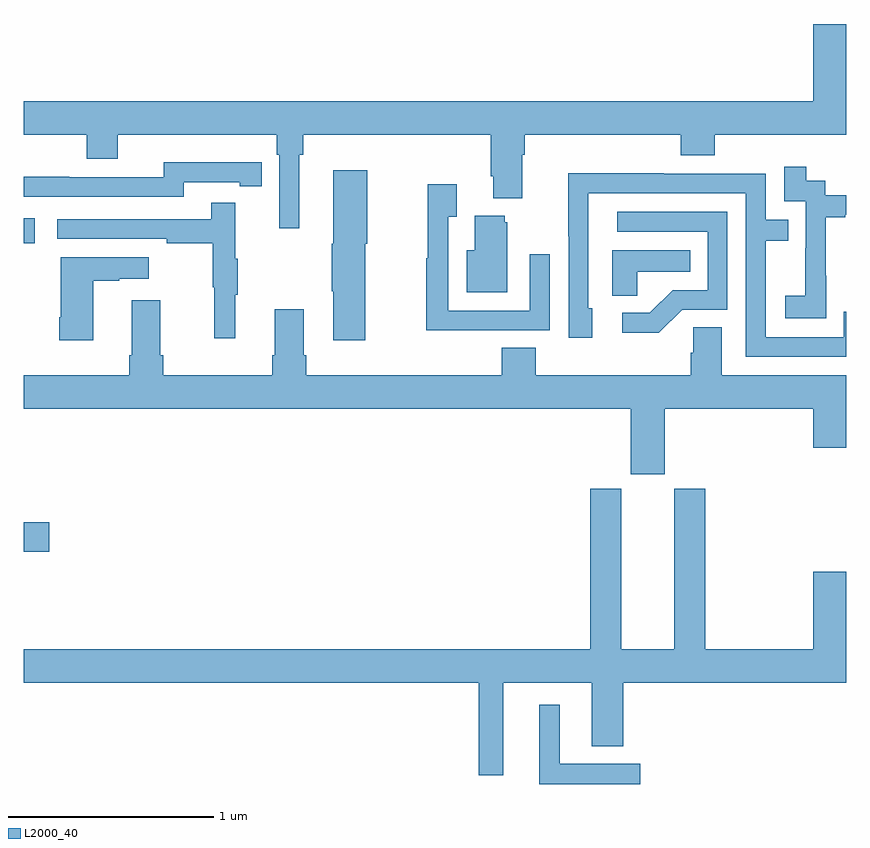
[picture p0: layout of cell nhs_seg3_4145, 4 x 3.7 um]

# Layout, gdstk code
import gdstk
lib = gdstk.Library(unit=1e-6, precision=1e-09)
def R(c, l, rs):  # rectangles x0, y0, x1, y1
    for r in rs: c.add(gdstk.rectangle(r[:2], r[2:], *l))
def P(c, l, *ps):  # polygons
    for p in ps: c.add(gdstk.Polygon(p, *l))
L2000_40 = (2000, 40)

nhs_seg3_4145 = lib.new_cell('nhs_seg3_4145')
R(nhs_seg3_4145, L2000_40, [(329,725.53,329.125,725.672), (329,727.029,329.053,727.15)])
P(nhs_seg3_4145, L2000_40, [(329,727.556),(329.306,727.556),(329.306,727.439),(329.458,727.439),(329.458,727.556),(330.23,727.556),(330.23,727.46),(330.243,727.46),(330.243,727.101),(330.34,727.101),(330.34,727.46),(330.359,727.46),(330.359,727.556),(331.271,727.556),(331.271,727.354),(331.283,727.354),(331.283,727.247),(331.423,727.247),(331.423,727.46),(331.436,727.46),(331.436,727.556),(332.195,727.556),(332.195,727.457),(332.36,727.457),(332.36,727.556),(333,727.556),(333,728.095),(332.84,728.095),(332.84,727.72),(329,727.72)],
  [(329.778,727.326),(330.05,727.326),(330.05,727.306),(330.158,727.306),(330.158,727.422),(330.05,727.422),(330.05,727.423),(329.682,727.423),(329.682,727.35),(329.222,727.35),(329.222,727.352),(329,727.352),(329,727.254),(329.778,727.254)],
  [(332.901,726.871),(332.9,726.871),(332.9,727.155),(332.995,727.155),(332.995,727.167),(333,727.167),(333,727.263),(332.898,727.263),(332.898,727.332),(332.806,727.332),(332.806,727.402),(332.697,727.402),(332.697,727.233),(332.802,727.233),(332.802,727.004),(332.801,727.004),(332.801,726.775),(332.703,726.775),(332.703,726.665),(332.901,726.665)],
  [(330.66,727.026),(330.67,727.026),(330.67,727.384),(330.506,727.384),(330.506,727.026),(330.499,727.026),(330.499,726.796),(330.506,726.796),(330.506,726.558),(330.66,726.558)],
  [(333,726.696),(332.988,726.696),(332.988,726.573),(332.607,726.573),(332.607,727.042),(332.717,727.042),(332.717,727.143),(332.607,727.143),(332.607,727.368),(332.111,727.368),(332.111,727.37),(331.648,727.37),(331.648,727.063),(331.65,727.063),(331.65,726.57),(331.765,726.57),(331.765,726.714),(331.746,726.714),(331.746,727.272),(332.511,727.272),(332.511,726.477),(333,726.477)],
  [(331.241,726.606),(331.557,726.606),(331.557,726.976),(331.461,726.976),(331.461,726.702),(331.065,726.702),(331.065,727.159),(331.105,727.159),(331.105,727.315),(330.964,727.315),(330.964,726.956),(330.957,726.956),(330.957,726.605),(331.241,726.605)],
  [(330.029,726.779),(330.04,726.779),(330.04,726.953),(330.029,726.953),(330.029,727.225),(329.911,727.225),(329.911,727.146),(329.163,727.146),(329.163,727.05),(329.695,727.05),(329.695,727.03),(329.919,727.03),(329.919,726.816),(329.926,726.816),(329.926,726.567),(330.029,726.567)],
  [(332.202,726.705),(332.421,726.705),(332.421,727.182),(331.887,727.182),(331.887,727.086),(332.325,727.086),(332.325,726.801),(332.156,726.801),(332.045,726.69),(331.911,726.69),(331.911,726.593),(332.089,726.593)],
  [(331.351,727.131),(331.34,727.131),(331.34,727.162),(331.193,727.162),(331.193,726.994),(331.154,726.994),(331.154,726.791),(331.351,726.791)],
  [(331.983,726.89),(332.24,726.89),(332.24,726.994),(331.862,726.994),(331.862,726.775),(331.983,726.775)],
  [(329.338,726.847),(329.465,726.847),(329.465,726.857),(329.608,726.857),(329.608,726.961),(329.18,726.961),(329.18,726.67),(329.173,726.67),(329.173,726.558),(329.338,726.558)],
  [(332.116,726.224),(332.84,726.224),(332.84,726.036),(333,726.036),(333,726.388),(332.395,726.388),(332.395,726.62),(332.256,726.62),(332.256,726.497),(332.243,726.497),(332.243,726.388),(331.49,726.388),(331.49,726.521),(331.325,726.521),(331.325,726.388),(330.374,726.388),(330.374,726.484),(330.361,726.484),(330.361,726.709),(330.221,726.709),(330.221,726.484),(330.209,726.484),(330.209,726.388),(329.678,726.388),(329.678,726.484),(329.665,726.484),(329.665,726.751),(329.525,726.751),(329.525,726.484),(329.513,726.484),(329.513,726.388),(329,726.388),(329,726.224),(331.952,726.224),(331.952,725.907),(332.116,725.907)],
  [(331.333,724.892),(331.763,724.892),(331.763,724.583),(331.916,724.583),(331.916,724.892),(333,724.892),(333,725.431),(332.84,725.431),(332.84,725.056),(332.315,725.056),(332.315,725.835),(332.162,725.835),(332.162,725.056),(331.906,725.056),(331.906,725.835),(331.754,725.835),(331.754,725.056),(329,725.056),(329,724.892),(331.212,724.892),(331.212,724.443),(331.333,724.443)],
  [(331.997,724.498),(331.606,724.498),(331.606,724.786),(331.508,724.786),(331.508,724.4),(331.997,724.4)])

lib.write_gds('nhs_seg3_4145.gds')
